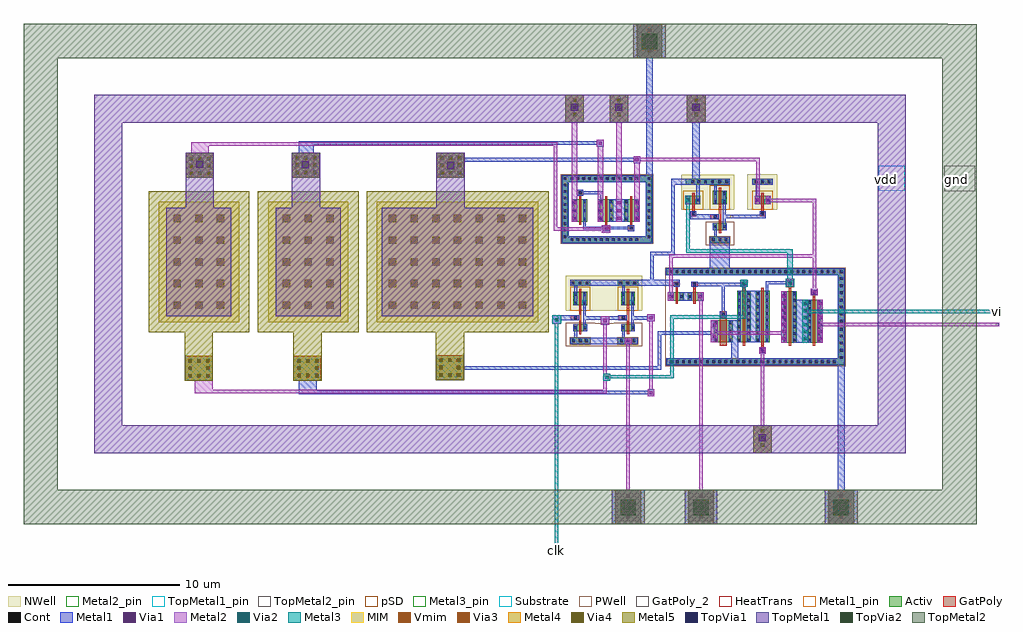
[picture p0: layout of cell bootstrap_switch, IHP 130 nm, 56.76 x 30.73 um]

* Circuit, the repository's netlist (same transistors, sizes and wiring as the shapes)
* Extracted by KLayout with SG13G2 LVS runset on : 25/02/2026 15:47

.SUBCKT bootstrap_switch gnd vdd vi vo clk
M$1 gnd clk \$3 gnd sg13_lv_nmos L=0.13u W=0.4u AS=0.136p AD=0.136p PS=1.48u
+ PD=1.48u
M$2 gnd \$3 \$4 gnd sg13_lv_nmos L=0.13u W=0.4u AS=0.136p AD=0.136p PS=1.48u
+ PD=1.48u
M$3 \$5 \$3 gnd gnd sg13_lv_nmos L=0.4u W=1.3u AS=0.442p AD=0.442p PS=3.28u
+ PD=3.28u
M$4 vi \$21 vo gnd sg13_lv_nmos L=0.13u W=2.5u AS=0.85p AD=0.85p PS=5.68u
+ PD=5.68u
M$5 \$21 vdd \$22 gnd sg13_lv_nmos L=0.13u W=0.5u AS=0.17p AD=0.17p PS=1.68u
+ PD=1.68u
M$6 \$22 \$3 gnd gnd sg13_lv_nmos L=0.13u W=0.5u AS=0.17p AD=0.17p PS=1.68u
+ PD=1.68u
M$7 \$5 \$7 vi gnd sg13_lv_nmos L=0.13u W=3u AS=1.02p AD=1.02p PS=6.68u PD=6.68u
M$8 gnd \$3 \$6 gnd sg13_lv_nmos L=0.13u W=3u AS=1.02p AD=1.02p PS=6.68u
+ PD=6.68u
M$9 \$6 vdd \$7 gnd sg13_lv_nmos L=0.13u W=3u AS=1.02p AD=1.02p PS=6.68u
+ PD=6.68u
M$10 gnd \$29 \$27 gnd sg13_lv_nmos L=0.13u W=0.4u AS=0.136p AD=0.136p PS=1.48u
+ PD=1.48u
M$11 vdd \$14 \$13 gnd sg13_lv_nmos L=0.13u W=1.3u AS=0.442p AD=0.442p PS=3.28u
+ PD=3.28u
M$12 \$14 \$13 vdd gnd sg13_lv_nmos L=0.13u W=1.3u AS=0.442p AD=0.442p PS=3.28u
+ PD=3.28u
M$13 vdd \$13 \$15 gnd sg13_lv_nmos L=0.13u W=1.3u AS=0.442p AD=0.442p PS=3.28u
+ PD=3.28u
M$14 vdd clk \$3 vdd sg13_lv_pmos L=0.13u W=0.8u AS=0.272p AD=0.272p PS=2.28u
+ PD=2.28u
M$15 vdd \$3 \$4 vdd sg13_lv_pmos L=0.13u W=0.8u AS=0.272p AD=0.272p PS=2.28u
+ PD=2.28u
M$16 \$7 \$29 vdd vdd sg13_lv_pmos L=0.13u W=0.5u AS=0.17p AD=0.17p PS=1.68u
+ PD=1.68u
M$17 \$15 \$27 \$21 \$15 sg13_lv_pmos L=0.13u W=0.5u AS=0.17p AD=0.17p PS=1.68u
+ PD=1.68u
M$18 vdd \$29 \$27 vdd sg13_lv_pmos L=0.13u W=0.8u AS=0.272p AD=0.272p PS=2.28u
+ PD=2.28u
C$19 \$13 \$3 cap_cmim w=4.665u l=6.99u A=32.60835p P=23.31u m=1
C$20 \$14 \$4 cap_cmim w=4.665u l=6.99u A=32.60835p P=23.31u m=1
C$21 \$15 \$5 cap_cmim w=9.39u l=6.99u A=65.6361p P=32.76u m=1
.ENDS bootstrap_switch

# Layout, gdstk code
import gdstk
lib = gdstk.Library(unit=1e-6, precision=1e-09)
def R(c, l, rs):  # rectangles x0, y0, x1, y1
    for r in rs: c.add(gdstk.rectangle(r[:2], r[2:], *l))
def A(c, l, x, y, w, h, nx, ny, dx, dy):  # array of equal rectangles
    R(c, l, [(x+i*dx, y+j*dy, x+i*dx+w, y+j*dy+h) for i in range(nx) for j in range(ny)])
Activ = (1, 0)
GatPoly = (5, 0)
GatPoly_2 = (5, 2)
Cont = (6, 0)
Metal1 = (8, 0)
Metal1_pin = (8, 2)
Metal2 = (10, 0)
Metal2_pin = (10, 2)
pSD = (14, 0)
Via1 = (19, 0)
Via2 = (29, 0)
Metal3 = (30, 0)
Metal3_pin = (30, 2)
NWell = (31, 0)
MIM = (36, 0)
Substrate = (40, 0)
PWell = (46, 0)
Via3 = (49, 0)
Metal4 = (50, 0)
HeatTrans = (51, 0)
Via4 = (66, 0)
Metal5 = (67, 0)
TopVia1 = (125, 0)
TopMetal1 = (126, 0)
TopMetal1_pin = (126, 2)
Vmim = (129, 0)
TopVia2 = (133, 0)
TopMetal2 = (134, 0)
TopMetal2_pin = (134, 2)

nmos_2 = lib.new_cell('nmos$2')
R(nmos_2, Activ, [(0,0,0.3,0.3), (0,0,0.81,1.3), (0.51,0,0.81,0.3)])
R(nmos_2, GatPoly, [(0.34,-0.18,0.47,1.48)])
R(nmos_2, GatPoly_2, [(0.34,-0.18,0.47,1.48)])
A(nmos_2, Cont, 0.07, 0.07, 0.16, 0.16, 1, 3, 0, 0.5)
A(nmos_2, Cont, 0.58, 0.07, 0.16, 0.16, 1, 3, 0, 0.5)
R(nmos_2, Metal1, [(0.07,0,0.23,1.3), (0.58,0,0.74,1.3)])
R(nmos_2, Metal1_pin, [(0.07,0,0.23,1.3), (0.58,0,0.74,1.3)])
R(nmos_2, HeatTrans, [(0.34,-0.18,0.47,1.48)])
nmos_2.add(gdstk.Label('nmos', (0.405,0.65), layer=63, texttype=0))
nmos_2.add(gdstk.Label('nmos', (0.405,0.65), layer=51, texttype=0))

cmim_1 = lib.new_cell('cmim$1')
R(cmim_1, MIM, [(0,0,4.665,6.99)])
R(cmim_1, Metal5, [(-0.6,-0.6,5.265,7.59)])
R(cmim_1, TopMetal1, [(0.44,0.345,4.22,6.645)])
A(cmim_1, Vmim, 0.86, 0.765, 0.42, 0.42, 3, 5, 1.26, 1.26)

cmim = lib.new_cell('cmim')
R(cmim, MIM, [(0,0,9.39,6.99)])
R(cmim, Metal5, [(-0.6,-0.6,9.99,7.59)])
R(cmim, TopMetal1, [(0.285,0.345,9.105,6.645)])
A(cmim, Vmim, 0.705, 0.765, 0.42, 0.42, 7, 5, 1.26, 1.26)

pmos_3 = lib.new_cell('pmos$3')
R(pmos_3, Activ, [(0,0,0.3,0.3), (0,0,0.81,0.5), (0.51,0,0.81,0.3)])
R(pmos_3, GatPoly, [(0.34,-0.18,0.47,0.68), (0.34,-0.18,0.47,0.68)])
R(pmos_3, Cont, [(0.07,0.17,0.23,0.33), (0.58,0.17,0.74,0.33)])
R(pmos_3, Metal1, [(0.07,0,0.23,0.5), (0.07,0,0.23,0.5), (0.58,0,0.74,0.5), (0.58,0,0.74,0.5)])
R(pmos_3, pSD, [(-0.18,-0.3,0.99,0.8)])
R(pmos_3, NWell, [(-0.31,-0.31,1.12,0.81)])
R(pmos_3, Substrate, [(0.51,0,0.81,0.3)])
R(pmos_3, HeatTrans, [(0.34,-0.18,0.47,0.68)])
pmos_3.add(gdstk.Label('pmos', (0.405,0.25), layer=63, texttype=0))
pmos_3.add(gdstk.Label('pmos', (0.405,0.25), layer=51, texttype=0))

pmos_2 = lib.new_cell('pmos$2')
R(pmos_2, Activ, [(0,0,0.3,0.3), (0,0,0.81,0.5), (0.51,0,0.81,0.3)])
R(pmos_2, GatPoly, [(0.34,-0.18,0.47,0.68), (0.34,-0.18,0.47,0.68)])
R(pmos_2, Cont, [(0.07,0.17,0.23,0.33), (0.58,0.17,0.74,0.33)])
R(pmos_2, Metal1, [(0.07,0,0.23,0.5), (0.07,0,0.23,0.5), (0.58,0,0.74,0.5), (0.58,0,0.74,0.5)])
R(pmos_2, pSD, [(-0.18,-0.3,0.99,0.8)])
R(pmos_2, NWell, [(-0.31,-0.31,1.12,0.81)])
R(pmos_2, Substrate, [(0.51,0,0.81,0.3)])
R(pmos_2, HeatTrans, [(0.34,-0.18,0.47,0.68)])
pmos_2.add(gdstk.Label('pmos', (0.405,0.25), layer=63, texttype=0))
pmos_2.add(gdstk.Label('pmos', (0.405,0.25), layer=51, texttype=0))

inverter2 = lib.new_cell('inverter2')
R(inverter2, Activ, [(33.54,-15.715,34.705,-15.35), (36.32,-15.715,37.485,-15.35), (33.72,-14.965,34.02,-14.665), (33.72,-14.965,34.53,-14.565), (34.23,-14.965,34.53,-14.665), (36.5,-14.965,36.8,-14.665), (36.5,-14.965,37.31,-14.565), (37.01,-14.965,37.31,-14.665), (33.72,-13.475,34.53,-12.675), (33.72,-13.475,34.02,-13.175), (34.23,-13.475,34.53,-13.175), (36.5,-13.475,37.31,-12.675), (36.5,-13.475,36.8,-13.175), (37.01,-13.475,37.31,-13.175), (33.54,-12.34,34.71,-11.985), (36.32,-12.34,37.49,-11.985)])
R(inverter2, GatPoly, [(34.06,-15.145,34.19,-14.385), (34.06,-15.145,34.19,-12.495), (36.84,-15.145,36.97,-14.385), (36.84,-15.145,36.97,-12.495), (33.57,-14.34,34.145,-14.035), (36.35,-14.34,36.925,-14.035), (34.06,-13.655,34.19,-12.495), (34.06,-13.655,34.19,-12.495), (36.84,-13.655,36.97,-12.495), (36.84,-13.655,36.97,-12.495)])
R(inverter2, GatPoly_2, [(34.06,-15.145,34.19,-14.385), (36.84,-15.145,36.97,-14.385)])
R(inverter2, Cont, [(33.66,-15.61,33.82,-15.45), (34.045,-15.61,34.205,-15.45), (34.4,-15.61,34.56,-15.45), (36.44,-15.61,36.6,-15.45), (36.825,-15.61,36.985,-15.45), (37.18,-15.61,37.34,-15.45), (33.79,-14.845,33.95,-14.685), (34.3,-14.845,34.46,-14.685), (36.57,-14.845,36.73,-14.685), (37.08,-14.845,37.24,-14.685), (33.77,-14.27,33.93,-14.11), (36.55,-14.27,36.71,-14.11), (33.79,-13.405,33.95,-13.245), (34.3,-13.405,34.46,-13.245), (36.57,-13.405,36.73,-13.245), (37.08,-13.405,37.24,-13.245), (33.79,-12.905,33.95,-12.745), (34.3,-12.905,34.46,-12.745), (36.57,-12.905,36.73,-12.745), (37.08,-12.905,37.24,-12.745), (33.62,-12.24,33.78,-12.08), (34.035,-12.24,34.195,-12.08), (34.44,-12.24,34.6,-12.08), (36.4,-12.24,36.56,-12.08), (36.815,-12.24,36.975,-12.08), (37.22,-12.24,37.38,-12.08)])
R(inverter2, Metal1, [(33.54,-15.715,34.705,-15.35), (33.555,-15.715,37.44,-15.35), (36.32,-15.715,37.485,-15.35), (33.79,-15.555,33.95,-14.79), (36.57,-15.555,36.73,-14.79), (33.72,-14.965,33.95,-14.565), (33.79,-14.965,33.95,-14.565), (34.3,-14.965,34.46,-12.675), (34.3,-14.965,34.53,-14.565), (34.3,-14.965,34.46,-14.565), (36.5,-14.965,36.73,-14.565), (36.57,-14.965,36.73,-14.565), (37.08,-14.965,37.24,-12.675), (37.08,-14.965,37.31,-14.565), (37.08,-14.965,37.24,-14.565), (33.57,-14.34,34.06,-14.035), (36.35,-14.34,36.84,-14.035), (34.3,-14.29,34.91,-14.09), (34.68,-14.29,36.78,-14.09), (37.08,-14.29,37.69,-14.09), (33.79,-13.475,33.95,-12.675), (33.79,-13.475,33.95,-12.675), (34.3,-13.475,34.46,-12.675), (34.3,-13.475,34.46,-12.675), (36.57,-13.475,36.73,-12.675), (36.57,-13.475,36.73,-12.675), (37.08,-13.475,37.24,-12.675), (37.08,-13.475,37.24,-12.675), (33.79,-12.765,33.95,-11.985), (36.57,-12.765,36.73,-11.985), (33.54,-12.34,34.71,-11.985), (33.54,-12.34,37.49,-11.985), (36.32,-12.34,37.49,-11.985)])
R(inverter2, Metal1_pin, [(33.79,-14.965,33.95,-14.565), (34.3,-14.965,34.46,-14.565), (36.57,-14.965,36.73,-14.565), (37.08,-14.965,37.24,-14.565), (33.555,-12.31,33.78,-12.02), (36.335,-12.31,36.56,-12.02)])
R(inverter2, pSD, [(33.51,-15.75,34.735,-15.32), (36.29,-15.75,37.515,-15.32), (33.54,-13.775,34.71,-12.375), (36.32,-13.775,37.49,-12.375)])
R(inverter2, NWell, [(33.29,-13.785,34.965,-11.74), (33.29,-13.785,37.745,-11.74), (33.41,-13.785,34.84,-12.365), (36.07,-13.785,37.745,-11.74), (36.19,-13.785,37.62,-12.365)])
R(inverter2, Substrate, [(34.23,-13.475,34.53,-13.175), (37.01,-13.475,37.31,-13.175)])
R(inverter2, PWell, [(33.295,-15.845,37.745,-14.495), (33.29,-15.84,34.96,-14.49), (36.07,-15.84,37.74,-14.49)])
R(inverter2, HeatTrans, [(34.06,-15.145,34.19,-14.385), (36.84,-15.145,36.97,-14.385), (34.06,-13.655,34.19,-12.495), (36.84,-13.655,36.97,-12.495)])
inverter2.add(gdstk.Label('pmos', (34.125,-13.075), layer=63, texttype=0))
inverter2.add(gdstk.Label('pmos', (36.905,-13.075), layer=63, texttype=0))
inverter2.add(gdstk.Label('nmos', (34.125,-14.765), layer=63, texttype=0))
inverter2.add(gdstk.Label('nmos', (36.905,-14.765), layer=63, texttype=0))
inverter2.add(gdstk.Label('nmos', (34.125,-14.765), layer=51, texttype=0))
inverter2.add(gdstk.Label('nmos', (36.905,-14.765), layer=51, texttype=0))
inverter2.add(gdstk.Label('pmos', (34.125,-13.075), layer=51, texttype=0))
inverter2.add(gdstk.Label('pmos', (36.905,-13.075), layer=51, texttype=0))

pmos = lib.new_cell('pmos')
R(pmos, Activ, [(9.885,-10.645,10.185,-10.345), (9.885,-10.645,10.695,-9.845), (10.395,-10.645,10.695,-10.345)])
R(pmos, GatPoly, [(10.225,-10.825,10.355,-9.665), (10.225,-10.825,10.355,-9.665)])
R(pmos, Cont, [(9.955,-10.575,10.115,-10.415), (10.465,-10.575,10.625,-10.415), (9.955,-10.075,10.115,-9.915), (10.465,-10.075,10.625,-9.915)])
R(pmos, Metal1, [(9.955,-10.645,10.115,-9.845), (9.955,-10.645,10.115,-9.845), (10.465,-10.645,10.625,-9.845), (10.465,-10.645,10.625,-9.845)])
R(pmos, pSD, [(9.705,-10.945,10.875,-9.545)])
R(pmos, NWell, [(9.575,-10.955,11.005,-9.535)])
R(pmos, Substrate, [(10.395,-10.645,10.695,-10.345)])
R(pmos, HeatTrans, [(10.225,-10.825,10.355,-9.665)])
pmos.add(gdstk.Label('pmos', (10.29,-10.245), layer=63, texttype=0))
pmos.add(gdstk.Label('pmos', (10.29,-10.245), layer=51, texttype=0))

nmos_1 = lib.new_cell('nmos$1')
R(nmos_1, Activ, [(9.885,-10.645,10.185,-10.345), (9.885,-10.645,10.695,-10.245), (10.395,-10.645,10.695,-10.345)])
R(nmos_1, GatPoly, [(10.225,-10.825,10.355,-10.065)])
R(nmos_1, GatPoly_2, [(10.225,-10.825,10.355,-10.065)])
R(nmos_1, Cont, [(9.955,-10.525,10.115,-10.365), (10.465,-10.525,10.625,-10.365)])
R(nmos_1, Metal1, [(9.955,-10.645,10.115,-10.245), (10.465,-10.645,10.625,-10.245)])
R(nmos_1, Metal1_pin, [(9.955,-10.645,10.115,-10.245), (10.465,-10.645,10.625,-10.245)])
R(nmos_1, HeatTrans, [(10.225,-10.825,10.355,-10.065)])
nmos_1.add(gdstk.Label('nmos', (10.29,-10.445), layer=63, texttype=0))
nmos_1.add(gdstk.Label('nmos', (10.29,-10.445), layer=51, texttype=0))

inverter = lib.new_cell('inverter')
R(inverter, Activ, [(9.265,-12.57,10.43,-12.205), (9.265,-9.195,10.435,-8.84)])
R(inverter, GatPoly, [(9.785,-12,9.915,-9.35), (9.295,-11.195,9.87,-10.89)])
R(inverter, Cont, [(9.385,-12.465,9.545,-12.305), (9.77,-12.465,9.93,-12.305), (10.125,-12.465,10.285,-12.305), (9.495,-11.125,9.655,-10.965), (9.345,-9.095,9.505,-8.935), (9.76,-9.095,9.92,-8.935), (10.165,-9.095,10.325,-8.935)])
R(inverter, Metal1, [(9.265,-12.57,10.43,-12.205), (9.515,-12.41,9.675,-11.645), (9.445,-11.82,9.675,-11.42), (10.025,-11.82,10.255,-11.42), (10.025,-11.82,10.185,-9.53), (9.295,-11.195,9.785,-10.89), (10.025,-11.145,10.635,-10.945), (9.515,-9.62,9.675,-8.84), (9.265,-9.195,10.435,-8.84)])
R(inverter, Metal1_pin, [(10.45,-11.14,10.625,-10.955), (9.495,-11.125,9.655,-10.965)])
R(inverter, pSD, [(9.235,-12.605,10.46,-12.175)])
R(inverter, NWell, [(9.015,-10.64,10.69,-8.595)])
R(inverter, PWell, [(9.015,-12.695,10.685,-11.345)])
inverter.add(gdstk.Reference(pmos, (-0.44,0.315)))
inverter.add(gdstk.Reference(nmos_1, (-0.44,-1.175)))

nmos_4 = lib.new_cell('nmos$4')
R(nmos_4, Activ, [(0,0,0.3,0.3), (0,0,0.81,3), (0.51,0,0.81,0.3)])
R(nmos_4, GatPoly, [(0.34,-0.18,0.47,3.18)])
R(nmos_4, GatPoly_2, [(0.34,-0.18,0.47,3.18)])
A(nmos_4, Cont, 0.07, 0.07, 0.16, 0.16, 1, 7, 0, 0.385)
A(nmos_4, Cont, 0.58, 0.07, 0.16, 0.16, 1, 7, 0, 0.385)
R(nmos_4, Cont, [(0.07,2.77,0.23,2.93), (0.58,2.77,0.74,2.93)])
R(nmos_4, Metal1, [(0.07,0,0.23,3), (0.58,0,0.74,3)])
R(nmos_4, Metal1_pin, [(0.07,0,0.23,3), (0.58,0,0.74,3)])
R(nmos_4, HeatTrans, [(0.34,-0.18,0.47,3.18)])
nmos_4.add(gdstk.Label('nmos', (0.405,1.5), layer=63, texttype=0))
nmos_4.add(gdstk.Label('nmos', (0.405,1.5), layer=51, texttype=0))

nmos_3 = lib.new_cell('nmos$3')
R(nmos_3, Activ, [(0,0,0.3,0.3), (0,0,1.08,1.3), (0.78,0,1.08,0.3)])
R(nmos_3, GatPoly, [(0.34,-0.18,0.74,1.48)])
R(nmos_3, GatPoly_2, [(0.34,-0.18,0.74,1.48)])
A(nmos_3, Cont, 0.07, 0.07, 0.16, 0.16, 1, 3, 0, 0.5)
A(nmos_3, Cont, 0.85, 0.07, 0.16, 0.16, 1, 3, 0, 0.5)
R(nmos_3, Metal1, [(0.07,0,0.23,1.3), (0.85,0,1.01,1.3)])
R(nmos_3, Metal1_pin, [(0.07,0,0.23,1.3), (0.85,0,1.01,1.3)])
R(nmos_3, HeatTrans, [(0.34,-0.18,0.74,1.48)])
nmos_3.add(gdstk.Label('nmos', (0.54,0.65), layer=63, texttype=0))
nmos_3.add(gdstk.Label('nmos', (0.54,0.65), layer=51, texttype=0))

nmos_5 = lib.new_cell('nmos$5')
R(nmos_5, Activ, [(0,0,0.3,0.3), (0,0,0.81,0.5), (0.51,0,0.81,0.3)])
R(nmos_5, GatPoly, [(0.34,-0.18,0.47,0.68)])
R(nmos_5, GatPoly_2, [(0.34,-0.18,0.47,0.68)])
R(nmos_5, Cont, [(0.07,0.17,0.23,0.33), (0.58,0.17,0.74,0.33)])
R(nmos_5, Metal1, [(0.07,0,0.23,0.5), (0.58,0,0.74,0.5)])
R(nmos_5, Metal1_pin, [(0.07,0,0.23,0.5), (0.58,0,0.74,0.5)])
R(nmos_5, HeatTrans, [(0.34,-0.18,0.47,0.68)])
nmos_5.add(gdstk.Label('nmos', (0.405,0.25), layer=63, texttype=0))
nmos_5.add(gdstk.Label('nmos', (0.405,0.25), layer=51, texttype=0))

nmos_7 = lib.new_cell('nmos$7')
R(nmos_7, Activ, [(0,0,0.3,0.3), (0,0,0.81,2.5), (0.51,0,0.81,0.3)])
R(nmos_7, GatPoly, [(0.34,-0.18,0.47,2.68)])
R(nmos_7, GatPoly_2, [(0.34,-0.18,0.47,2.68)])
A(nmos_7, Cont, 0.07, 0.07, 0.16, 0.16, 1, 3, 0, 0.365)
A(nmos_7, Cont, 0.58, 0.07, 0.16, 0.16, 1, 3, 0, 0.365)
A(nmos_7, Cont, 0.07, 1.17, 0.16, 0.16, 1, 3, 0, 0.365)
A(nmos_7, Cont, 0.58, 1.17, 0.16, 0.16, 1, 3, 0, 0.365)
R(nmos_7, Cont, [(0.07,2.27,0.23,2.43), (0.58,2.27,0.74,2.43)])
R(nmos_7, Metal1, [(0.07,0,0.23,2.5), (0.58,0,0.74,2.5)])
R(nmos_7, Metal1_pin, [(0.07,0,0.23,2.5), (0.58,0,0.74,2.5)])
R(nmos_7, HeatTrans, [(0.34,-0.18,0.47,2.68)])
nmos_7.add(gdstk.Label('nmos', (0.405,1.25), layer=63, texttype=0))
nmos_7.add(gdstk.Label('nmos', (0.405,1.25), layer=51, texttype=0))

bootstrap_switch = lib.new_cell('bootstrap_switch')
R(bootstrap_switch, Activ, [(29.155,-10.075,39.085,-9.735), (39.075,-10.075,39.15,-9.735), (39.13,-10.075,39.47,-4.5), (29.14,-4.84,39.07,-4.5), (39.05,-4.84,39.15,-4.5), (23.07,-2.97,23.41,0.92), (23.07,-2.97,23.68,-2.63), (23.46,-2.97,27.9,-2.63), (27.805,-2.97,28.135,-2.63), (27.955,-2.97,28.295,0.92), (30.255,0.385,32.83,0.74), (34.14,0.385,35.325,0.74), (23.07,0.58,23.52,0.92), (23.46,0.58,27.9,0.92), (27.78,0.58,28.23,0.92)])
R(bootstrap_switch, GatPoly, [(34.54,-9.4,34.9,-9.1), (34.66,-9.205,34.79,-8.95), (32.24,-7.31,32.64,-6.96), (37.655,-6.115,37.785,-5.86), (37.545,-6,37.905,-5.7), (29.675,-5.685,29.805,-5.43), (30.705,-5.685,30.835,-5.43), (36.255,-5.62,36.385,-5.355), (33.58,-5.615,33.71,-5.36), (36.07,-5.58,36.57,-5.16), (30.585,-5.54,30.945,-5.24), (33.46,-5.54,33.82,-5.24), (29.55,-5.535,29.91,-5.235), (25.44,-2.3,25.81,-1.95), (26.895,-2.3,27.265,-1.95), (25.565,-2.155,25.695,-1.925), (27.02,-2.155,27.15,-1.925), (30.53,-1.44,30.88,-1.14), (34.55,-1.44,34.9,-1.14), (30.64,-1.34,30.77,-0.915), (34.66,-1.33,34.79,-0.905), (24.055,-0.28,24.185,-0.05), (23.93,-0.25,24.3,0.1)])
A(bootstrap_switch, Cont, 29.335, -9.985, 0.16, 0.16, 4, 1, 0.355, 0)
A(bootstrap_switch, Cont, 31.09, -9.985, 0.16, 0.16, 4, 1, 0.355, 0)
A(bootstrap_switch, Cont, 32.845, -9.985, 0.16, 0.16, 4, 1, 0.355, 0)
A(bootstrap_switch, Cont, 34.6, -9.985, 0.16, 0.16, 4, 1, 0.355, 0)
A(bootstrap_switch, Cont, 37.06, -9.985, 0.16, 0.16, 3, 1, 0.355, 0)
A(bootstrap_switch, Cont, 39.215, -9.73, 0.16, 0.16, 1, 3, 0, 0.42)
A(bootstrap_switch, Cont, 29.32, -4.75, 0.16, 0.16, 4, 1, 0.355, 0)
A(bootstrap_switch, Cont, 31.075, -4.75, 0.16, 0.16, 4, 1, 0.355, 0)
A(bootstrap_switch, Cont, 32.83, -4.75, 0.16, 0.16, 4, 1, 0.355, 0)
A(bootstrap_switch, Cont, 34.585, -4.75, 0.16, 0.16, 4, 1, 0.355, 0)
A(bootstrap_switch, Cont, 37.045, -4.75, 0.16, 0.16, 3, 1, 0.355, 0)
A(bootstrap_switch, Cont, 23.905, -2.875, 0.16, 0.16, 3, 2, 0.34, 3.55)
A(bootstrap_switch, Cont, 25.27, -2.875, 0.16, 0.16, 3, 2, 0.345, 3.55)
A(bootstrap_switch, Cont, 25.96, -2.875, 0.16, 0.16, 3, 2, 0.34, 3.55)
A(bootstrap_switch, Cont, 23.155, -2.325, 0.16, 0.16, 1, 3, 0, 0.375)
A(bootstrap_switch, Cont, 28.04, -2.325, 0.16, 0.16, 1, 3, 0, 0.375)
A(bootstrap_switch, Cont, 23.155, -1.205, 0.16, 0.16, 1, 3, 0, 0.375)
A(bootstrap_switch, Cont, 28.04, -1.205, 0.16, 0.16, 1, 3, 0, 0.375)
A(bootstrap_switch, Cont, 23.155, -0.075, 0.16, 0.16, 1, 3, 0, 0.375)
A(bootstrap_switch, Cont, 28.04, -0.075, 0.16, 0.16, 1, 3, 0, 0.375)
R(bootstrap_switch, Cont, [(30.745,-9.985,30.905,-9.825), (30.745,-9.985,30.905,-9.825), (32.5,-9.985,32.66,-9.825), (32.5,-9.985,32.66,-9.825), (34.255,-9.985,34.415,-9.825), (34.255,-9.985,34.415,-9.825), (36.01,-9.985,36.17,-9.825), (36.01,-9.985,36.17,-9.825), (36.36,-9.985,36.52,-9.825), (36.715,-9.985,36.875,-9.825), (38.115,-9.985,38.275,-9.825), (38.115,-9.985,38.275,-9.825), (38.465,-9.985,38.625,-9.825), (38.82,-9.985,38.98,-9.825), (34.64,-9.33,34.8,-9.17), (39.215,-8.48,39.375,-8.32), (39.215,-8.085,39.375,-7.925), (39.215,-7.625,39.375,-7.465), (39.215,-7.205,39.375,-7.045), (32.365,-7.2,32.525,-7.04), (39.215,-6.795,39.375,-6.635), (39.215,-6.4,39.375,-6.24), (39.215,-5.975,39.375,-5.815), (37.645,-5.93,37.805,-5.77), (39.215,-5.555,39.375,-5.395), (30.685,-5.47,30.845,-5.31), (33.565,-5.47,33.725,-5.31), (29.66,-5.465,29.82,-5.305), (36.24,-5.43,36.4,-5.27), (39.215,-5.145,39.375,-4.985), (30.73,-4.75,30.89,-4.59), (30.73,-4.75,30.89,-4.59), (32.485,-4.75,32.645,-4.59), (32.485,-4.75,32.645,-4.59), (34.24,-4.75,34.4,-4.59), (34.24,-4.75,34.4,-4.59), (35.995,-4.75,36.155,-4.59), (35.995,-4.75,36.155,-4.59), (36.345,-4.75,36.505,-4.59), (36.7,-4.75,36.86,-4.59), (38.1,-4.75,38.26,-4.59), (38.1,-4.75,38.26,-4.59), (38.45,-4.75,38.61,-4.59), (38.805,-4.75,38.965,-4.59), (39.215,-4.75,39.375,-4.59), (23.56,-2.875,23.72,-2.715), (23.905,-2.875,24.065,-2.715), (24.93,-2.875,25.09,-2.715), (24.93,-2.875,25.09,-2.715), (26.985,-2.875,27.145,-2.715), (26.985,-2.875,27.145,-2.715), (27.325,-2.875,27.485,-2.715), (23.155,-2.705,23.315,-2.545), (28.04,-2.705,28.2,-2.545), (25.55,-2.205,25.71,-2.045), (27.005,-2.205,27.165,-2.045), (30.625,-1.37,30.785,-1.21), (34.645,-1.37,34.805,-1.21), (24.04,-0.15,24.2,0.01), (30.585,0.485,30.745,0.645), (30.94,0.485,31.1,0.645), (31.33,0.485,31.49,0.645), (34.28,0.485,34.44,0.645), (34.645,0.485,34.805,0.645), (35.025,0.485,35.185,0.645), (23.56,0.675,23.72,0.835), (23.905,0.675,24.065,0.835), (24.93,0.675,25.09,0.835), (24.93,0.675,25.09,0.835), (26.985,0.675,27.145,0.835), (26.985,0.675,27.145,0.835), (27.325,0.675,27.485,0.835)])
R(bootstrap_switch, Metal1, [(38.545,-19.355,40.045,-17.355), (39.1,-19.35,39.5,-9.705), (28.035,-11.895,28.435,-11.5), (7.745,-11.8,28.435,-11.6), (7.745,-11.8,8.8,-10.1), (1.12,-11.01,2.755,-9.56), (7.44,-11.01,9.075,-9.56), (15.725,-10.985,17.36,-9.535), (15.725,-10.375,28.725,-10.175), (28.62,-10.375,28.82,-8.125), (29.12,-10.105,39.12,-9.705), (32.91,-10.105,33.31,-8.38), (39.1,-10.105,39.5,-4.47), (34.54,-9.4,34.9,-9.1), (35.8,-8.79,36.145,-5.79), (36.495,-8.79,37.545,-6.29), (37.03,-8.79,37.37,-6.29), (37.895,-8.79,38.235,-6.29), (31.7,-8.78,32.13,-7.48), (32.75,-8.78,33.47,-7.48), (33.82,-8.78,34.55,-5.78), (28.62,-8.325,32.13,-8.125), (25.31,-7.755,25.815,-7.245), (22.5,-7.7,23.005,-7.19), (28.02,-7.55,28.45,-7.13), (22.5,-7.495,24.055,-7.19), (27.505,-7.445,28.405,-7.245), (32.24,-7.3,32.64,-6.96), (29.2,-6.35,29.565,-5.85), (29.335,-6.35,29.565,-5.85), (29.915,-6.35,30.595,-5.85), (30.945,-6.35,31.175,-5.85), (30.945,-6.35,31.31,-5.85), (34.9,-6.01,35.06,-5.225), (37.545,-6,37.905,-5.7), (36.07,-5.545,36.57,-5.16), (36.07,-5.545,36.57,-5.085), (30.585,-5.54,30.945,-5.24), (33.425,-5.54,33.855,-5.12), (33.46,-5.54,33.82,-5.24), (29.55,-5.535,29.91,-5.235), (30.685,-5.505,32.54,-5.305), (27.145,-5.495,29.91,-5.14), (28.185,-5.495,28.385,-3.5), (34.9,-5.4,36.42,-5.225), (29.105,-4.87,39.105,-4.47), (31.66,-4.87,32.825,-2.625), (28.185,-3.7,29.6,-3.5), (29.41,-3.7,29.61,0.74), (23.04,-3,23.44,0.95), (23.43,-3,27.93,-2.6), (27.925,-3,28.325,0.95), (25.44,-2.3,25.81,-1.95), (26.895,-2.3,27.265,-1.95), (25.595,-2.21,27.04,-2.05), (24.295,-2.205,25.74,-2.045), (24.295,-2.16,24.455,-1.64), (23.625,-1.75,23.885,-0.45), (25.13,-1.75,25.39,-0.45), (25.805,-1.75,26.91,-0.45), (27.3,-1.75,27.56,-0.45), (30.53,-1.615,32.05,-1.31), (32.84,-1.565,34.9,-1.365), (30.53,-1.44,30.88,-1.14), (34.55,-1.44,34.9,-1.14), (30.24,-0.75,30.53,-0.25), (30.335,-0.75,30.53,-0.25), (30.88,-0.75,31.085,-0.25), (34.32,-0.75,34.55,-0.25), (34.9,-0.75,35.19,-0.25), (25.295,-0.52,25.455,0), (30.88,-0.41,31.085,0.74), (34.32,-0.395,34.55,0.74), (23.93,-0.25,24.3,0.1), (24.01,-0.16,25.455,0), (29.41,0.385,30.435,0.74), (30.255,0.385,32.83,0.74), (30.64,0.385,31.085,5.64), (34.14,0.385,35.325,0.74), (23.43,0.55,27.93,0.95), (27.97,0.565,28.325,9.745), (15.755,0.795,17.39,2.245), (1.175,0.8,2.81,2.25), (7.35,0.805,8.985,2.255), (27.22,1.645,27.62,2.04), (16.96,1.725,27.62,1.95), (7.755,2.15,8.625,2.915), (25.09,2.61,25.49,3.005), (7.755,2.715,25.385,2.915), (30.32,4,31.41,5.64), (27.4,7.75,28.9,9.75)])
R(bootstrap_switch, Metal2, [(26.16,-19.355,27.66,-17.355), (38.545,-19.355,40.045,-17.355), (26.805,-19.35,27.005,-8.59), (30.395,-19.35,31.895,-17.35), (31.035,-19.35,31.235,-6.005), (34.17,-15.22,35.26,-13.58), (34.62,-15.22,34.82,-9.155), (28.035,-11.895,28.435,-11.5), (1.7,-11.725,25.67,-11.525), (1.7,-11.725,2.755,-10.495), (25.47,-11.725,25.67,-7.56), (28.135,-11.725,28.335,-7.13), (1.12,-11.01,2.755,-9.56), (7.44,-11.01,9.075,-9.56), (25.47,-11.005,25.87,-10.61), (15.725,-10.985,17.36,-9.535), (34.52,-9.43,34.92,-9.07), (26.7,-8.87,27.105,-8.505), (35.8,-8.79,36.145,-5.79), (37.03,-8.79,37.37,-6.29), (37.895,-8.79,38.235,-6.29), (31.7,-8.78,32.13,-7.48), (31.7,-8.325,36.145,-8.125), (37.965,-7.845,48.48,-7.645), (25.31,-7.755,25.815,-7.245), (22.5,-7.7,23.005,-7.19), (28.02,-7.55,28.45,-7.13), (29.2,-6.35,29.565,-5.85), (30.945,-6.35,31.31,-5.85), (29.29,-6.205,29.49,-3.64), (37.525,-6.03,37.925,-5.67), (37.64,-5.94,37.84,-0.425), (36.07,-5.545,36.57,-5.085), (33.425,-5.54,33.855,-5.12), (29.29,-3.84,37.84,-3.64), (25.38,-2.4,25.88,-1.97), (22.585,-2.285,22.785,2.715), (22.75,-2.285,25.745,-2.085), (23.625,-1.75,23.945,-0.45), (25.13,-1.75,25.45,-0.45), (26.205,-1.75,26.525,-0.45), (27.26,-1.75,27.56,-0.45), (27.26,-1.75,27.585,1.89), (23.63,-0.84,23.95,5.64), (26.205,-0.84,26.525,5.64), (30.24,-0.75,30.53,-0.25), (34.285,-0.75,34.585,-0.25), (34.9,-0.75,35.19,-0.25), (25.13,-0.635,25.455,3.005), (34.945,-0.62,37.84,-0.42), (34.35,-0.585,34.55,1.95), (15.755,0.795,17.39,2.245), (1.175,0.8,2.81,2.25), (7.35,0.805,8.985,2.255), (27.22,1.645,27.62,2.04), (27.33,1.75,34.55,1.95), (1.515,1.77,2.515,2.87), (25.09,2.61,25.49,3.005), (1.515,2.67,22.785,2.87), (23.25,4,24.34,5.64), (25.825,4,26.915,5.64), (30.32,4,31.41,5.64), (27.4,7.75,28.9,9.75)])
R(bootstrap_switch, Metal2_pin, [(48.29,-7.835,48.475,-7.65)])
R(bootstrap_switch, pSD, [(29.12,-10.105,39.12,-9.705), (39.1,-10.105,39.5,-4.47), (29.105,-4.87,39.105,-4.47), (23.04,-3,23.44,0.95), (23.43,-3,27.93,-2.6), (27.925,-3,28.325,0.95), (23.43,0.55,27.93,0.95)])
A(bootstrap_switch, Via1, 37.11, -8.66, 0.19, 0.19, 1, 6, 0, 0.41)
A(bootstrap_switch, Via1, 37.975, -8.66, 0.19, 0.19, 1, 6, 0, 0.41)
A(bootstrap_switch, Via1, 35.875, -8.635, 0.19, 0.19, 1, 7, 0, 0.41)
R(bootstrap_switch, Via1, [(39.195,-18.995,39.385,-18.805), (39.195,-18.395,39.385,-18.205), (39.195,-17.82,39.385,-17.63), (28.135,-11.795,28.325,-11.605), (1.345,-10.805,1.535,-10.615), (1.85,-10.805,2.04,-10.615), (2.365,-10.805,2.555,-10.615), (7.68,-10.8,7.87,-10.61), (8.185,-10.8,8.375,-10.61), (8.7,-10.8,8.89,-10.61), (15.935,-10.765,16.125,-10.575), (16.44,-10.765,16.63,-10.575), (16.955,-10.765,17.145,-10.575), (1.345,-10.37,1.535,-10.18), (2.365,-10.365,2.555,-10.175), (7.68,-10.365,7.87,-10.175), (8.7,-10.36,8.89,-10.17), (15.935,-10.33,16.125,-10.14), (16.955,-10.325,17.145,-10.135), (1.345,-9.955,1.535,-9.765), (1.845,-9.955,2.035,-9.765), (2.365,-9.955,2.555,-9.765), (7.68,-9.95,7.87,-9.76), (8.18,-9.95,8.37,-9.76), (8.7,-9.95,8.89,-9.76), (15.935,-9.915,16.125,-9.725), (16.435,-9.915,16.625,-9.725), (16.955,-9.915,17.145,-9.725), (34.625,-9.345,34.815,-9.155), (26.805,-8.78,26.995,-8.59), (31.82,-8.525,32.01,-8.335), (31.82,-7.86,32.01,-7.67), (25.475,-7.59,25.665,-7.4), (22.655,-7.55,22.845,-7.36), (28.135,-7.435,28.325,-7.245), (29.29,-6.195,29.48,-6.005), (31.04,-6.195,31.23,-6.005), (37.63,-5.945,37.82,-5.755), (36.225,-5.43,36.415,-5.24), (33.545,-5.425,33.735,-5.235), (25.55,-2.235,25.74,-2.045), (23.695,-1.65,23.885,-1.46), (25.2,-1.65,25.39,-1.46), (26.275,-1.65,26.465,-1.46), (27.325,-1.65,27.515,-1.46), (23.695,-1.21,23.885,-1.02), (25.2,-1.21,25.39,-1.02), (26.275,-1.21,26.465,-1.02), (27.32,-1.195,27.51,-1.005), (23.695,-0.745,23.885,-0.555), (25.2,-0.745,25.39,-0.555), (26.275,-0.745,26.465,-0.555), (27.32,-0.735,27.51,-0.545), (34.95,-0.6,35.14,-0.41), (30.295,-0.595,30.485,-0.405), (34.34,-0.595,34.53,-0.405), (1.4,0.96,1.59,1.15), (1.905,0.96,2.095,1.15), (2.42,0.96,2.61,1.15), (15.99,1,16.18,1.19), (16.495,1,16.685,1.19), (17.01,1,17.2,1.19), (7.565,1.005,7.755,1.195), (8.07,1.005,8.26,1.195), (8.585,1.005,8.775,1.195), (1.4,1.395,1.59,1.585), (2.42,1.4,2.61,1.59), (15.99,1.435,16.18,1.625), (7.565,1.44,7.755,1.63), (17.01,1.44,17.2,1.63), (8.585,1.445,8.775,1.635), (27.33,1.76,27.52,1.95), (1.4,1.81,1.59,2), (1.9,1.81,2.09,2), (2.42,1.81,2.61,2), (15.99,1.85,16.18,2.04), (16.49,1.85,16.68,2.04), (17.01,1.85,17.2,2.04), (7.565,1.855,7.755,2.045), (8.065,1.855,8.255,2.045), (8.585,1.855,8.775,2.045), (25.195,2.715,25.385,2.905), (30.775,4.38,30.965,4.57), (30.775,4.8,30.965,4.99), (30.775,5.21,30.965,5.4), (28.05,8.11,28.24,8.3), (28.05,8.71,28.24,8.9), (28.05,9.285,28.24,9.475)])
A(bootstrap_switch, Via2, 37.11, -8.66, 0.19, 0.19, 1, 6, 0, 0.41)
R(bootstrap_switch, Via2, [(26.81,-18.995,27,-18.805), (39.195,-18.995,39.385,-18.805), (31.045,-18.99,31.235,-18.8), (26.81,-18.395,27,-18.205), (39.195,-18.395,39.385,-18.205), (31.045,-18.39,31.235,-18.2), (26.81,-17.82,27,-17.63), (39.195,-17.82,39.385,-17.63), (31.045,-17.815,31.235,-17.625), (34.625,-14.84,34.815,-14.65), (34.625,-14.42,34.815,-14.23), (34.625,-14.01,34.815,-13.82), (25.58,-10.9,25.77,-10.71), (1.345,-10.805,1.535,-10.615), (1.85,-10.805,2.04,-10.615), (2.365,-10.805,2.555,-10.615), (7.68,-10.8,7.87,-10.61), (8.185,-10.8,8.375,-10.61), (8.7,-10.8,8.89,-10.61), (15.935,-10.765,16.125,-10.575), (16.44,-10.765,16.63,-10.575), (16.955,-10.765,17.145,-10.575), (1.345,-10.37,1.535,-10.18), (2.365,-10.365,2.555,-10.175), (7.68,-10.365,7.87,-10.175), (8.7,-10.36,8.89,-10.17), (15.935,-10.33,16.125,-10.14), (16.955,-10.325,17.145,-10.135), (1.345,-9.955,1.535,-9.765), (1.845,-9.955,2.035,-9.765), (2.365,-9.955,2.555,-9.765), (7.68,-9.95,7.87,-9.76), (8.18,-9.95,8.37,-9.76), (8.7,-9.95,8.89,-9.76), (15.935,-9.915,16.125,-9.725), (16.435,-9.915,16.625,-9.725), (16.955,-9.915,17.145,-9.725), (22.655,-7.55,22.845,-7.36), (36.225,-5.43,36.415,-5.24), (33.545,-5.425,33.735,-5.235), (30.295,-0.595,30.485,-0.405), (1.4,0.96,1.59,1.15), (1.905,0.96,2.095,1.15), (2.42,0.96,2.61,1.15), (15.99,1,16.18,1.19), (16.495,1,16.685,1.19), (17.01,1,17.2,1.19), (7.565,1.005,7.755,1.195), (8.07,1.005,8.26,1.195), (8.585,1.005,8.775,1.195), (1.4,1.395,1.59,1.585), (2.42,1.4,2.61,1.59), (15.99,1.435,16.18,1.625), (7.565,1.44,7.755,1.63), (17.01,1.44,17.2,1.63), (8.585,1.445,8.775,1.635), (1.4,1.81,1.59,2), (1.9,1.81,2.09,2), (2.42,1.81,2.61,2), (15.99,1.85,16.18,2.04), (16.49,1.85,16.68,2.04), (17.01,1.85,17.2,2.04), (7.565,1.855,7.755,2.045), (8.065,1.855,8.255,2.045), (8.585,1.855,8.775,2.045), (23.705,4.38,23.895,4.57), (26.28,4.38,26.47,4.57), (30.775,4.38,30.965,4.57), (23.705,4.8,23.895,4.99), (26.28,4.8,26.47,4.99), (30.775,4.8,30.965,4.99), (23.705,5.21,23.895,5.4), (26.28,5.21,26.47,5.4), (30.775,5.21,30.965,5.4), (28.05,8.11,28.24,8.3), (28.05,8.71,28.24,8.9), (28.05,9.285,28.24,9.475)])
R(bootstrap_switch, Metal3, [(22.65,-20.98,22.85,-7.355), (26.16,-19.355,27.66,-17.355), (38.545,-19.355,40.045,-17.355), (30.395,-19.35,31.895,-17.35), (34.17,-15.22,35.26,-13.58), (1.12,-11.01,2.755,-9.56), (7.44,-11.01,9.075,-9.56), (25.47,-11.005,25.87,-10.61), (15.725,-10.985,17.36,-9.535), (25.47,-10.875,29.56,-10.675), (29.36,-10.875,29.56,-7.21), (37.03,-8.79,37.37,-6.29), (22.5,-7.7,23.005,-7.19), (29.36,-7.41,33.74,-7.21), (33.54,-7.41,33.74,-5.21), (37.11,-7.075,48.505,-6.875), (36.07,-5.545,36.57,-5.085), (33.425,-5.54,33.855,-5.12), (36.17,-5.505,36.47,-3.36), (30.285,-3.56,36.47,-3.36), (30.285,-3.56,30.485,-0.65), (30.24,-0.75,30.53,-0.25), (15.755,0.795,17.39,2.245), (1.175,0.8,2.81,2.25), (7.35,0.805,8.985,2.255), (23.25,4,24.34,5.64), (25.825,4,26.915,5.64), (30.32,4,31.41,5.64), (27.4,7.75,28.9,9.75)])
R(bootstrap_switch, Metal3_pin, [(22.665,-20.975,22.835,-20.78), (48.28,-7.06,48.48,-6.885)])
R(bootstrap_switch, NWell, [(29.99,-1.06,33.085,0.985), (33.835,-1.06,35.585,1)])
R(bootstrap_switch, PWell, [(29.08,-10.16,39.555,-4.445), (22.995,-3.05,28.38,1)])
R(bootstrap_switch, Via3, [(26.81,-18.995,27,-18.805), (39.195,-18.995,39.385,-18.805), (31.045,-18.99,31.235,-18.8), (26.81,-18.395,27,-18.205), (39.195,-18.395,39.385,-18.205), (31.045,-18.39,31.235,-18.2), (26.81,-17.82,27,-17.63), (39.195,-17.82,39.385,-17.63), (31.045,-17.815,31.235,-17.625), (34.625,-14.84,34.815,-14.65), (34.625,-14.42,34.815,-14.23), (34.625,-14.01,34.815,-13.82), (1.345,-10.805,1.535,-10.615), (1.85,-10.805,2.04,-10.615), (2.365,-10.805,2.555,-10.615), (7.68,-10.8,7.87,-10.61), (8.185,-10.8,8.375,-10.61), (8.7,-10.8,8.89,-10.61), (15.935,-10.765,16.125,-10.575), (16.44,-10.765,16.63,-10.575), (16.955,-10.765,17.145,-10.575), (1.345,-10.37,1.535,-10.18), (2.365,-10.365,2.555,-10.175), (7.68,-10.365,7.87,-10.175), (8.7,-10.36,8.89,-10.17), (15.935,-10.33,16.125,-10.14), (16.955,-10.325,17.145,-10.135), (1.345,-9.955,1.535,-9.765), (1.845,-9.955,2.035,-9.765), (2.365,-9.955,2.555,-9.765), (7.68,-9.95,7.87,-9.76), (8.18,-9.95,8.37,-9.76), (8.7,-9.95,8.89,-9.76), (15.935,-9.915,16.125,-9.725), (16.435,-9.915,16.625,-9.725), (16.955,-9.915,17.145,-9.725), (1.4,0.96,1.59,1.15), (1.905,0.96,2.095,1.15), (2.42,0.96,2.61,1.15), (15.99,1,16.18,1.19), (16.495,1,16.685,1.19), (17.01,1,17.2,1.19), (7.565,1.005,7.755,1.195), (8.07,1.005,8.26,1.195), (8.585,1.005,8.775,1.195), (1.4,1.395,1.59,1.585), (2.42,1.4,2.61,1.59), (15.99,1.435,16.18,1.625), (7.565,1.44,7.755,1.63), (17.01,1.44,17.2,1.63), (8.585,1.445,8.775,1.635), (1.4,1.81,1.59,2), (1.9,1.81,2.09,2), (2.42,1.81,2.61,2), (15.99,1.85,16.18,2.04), (16.49,1.85,16.68,2.04), (17.01,1.85,17.2,2.04), (7.565,1.855,7.755,2.045), (8.065,1.855,8.255,2.045), (8.585,1.855,8.775,2.045), (23.705,4.38,23.895,4.57), (26.28,4.38,26.47,4.57), (30.775,4.38,30.965,4.57), (23.705,4.8,23.895,4.99), (26.28,4.8,26.47,4.99), (30.775,4.8,30.965,4.99), (23.705,5.21,23.895,5.4), (26.28,5.21,26.47,5.4), (30.775,5.21,30.965,5.4), (28.05,8.11,28.24,8.3), (28.05,8.71,28.24,8.9), (28.05,9.285,28.24,9.475)])
R(bootstrap_switch, Metal4, [(26.16,-19.355,27.66,-17.355), (38.545,-19.355,40.045,-17.355), (30.395,-19.35,31.895,-17.35), (34.17,-15.22,35.26,-13.58), (1.12,-11.01,2.755,-9.56), (1.12,-11.01,2.755,-9.56), (7.44,-11.01,9.075,-9.56), (7.44,-11.01,9.075,-9.56), (15.725,-10.985,17.36,-9.535), (15.725,-10.985,17.36,-9.535), (15.755,0.795,17.39,2.245), (1.175,0.8,2.81,2.25), (1.175,0.8,2.81,2.25), (7.35,0.805,8.985,2.255), (23.25,4,24.34,5.64), (25.825,4,26.915,5.64), (30.32,4,31.41,5.64), (27.4,7.75,28.9,9.75)])
R(bootstrap_switch, Via4, [(26.81,-18.995,27,-18.805), (39.195,-18.995,39.385,-18.805), (31.045,-18.99,31.235,-18.8), (26.81,-18.395,27,-18.205), (39.195,-18.395,39.385,-18.205), (31.045,-18.39,31.235,-18.2), (26.81,-17.82,27,-17.63), (39.195,-17.82,39.385,-17.63), (31.045,-17.815,31.235,-17.625), (34.625,-14.84,34.815,-14.65), (34.625,-14.42,34.815,-14.23), (34.625,-14.01,34.815,-13.82), (1.345,-10.805,1.535,-10.615), (1.85,-10.805,2.04,-10.615), (2.365,-10.805,2.555,-10.615), (7.68,-10.8,7.87,-10.61), (8.185,-10.8,8.375,-10.61), (8.7,-10.8,8.89,-10.61), (15.935,-10.765,16.125,-10.575), (16.44,-10.765,16.63,-10.575), (16.955,-10.765,17.145,-10.575), (1.345,-10.37,1.535,-10.18), (2.365,-10.365,2.555,-10.175), (7.68,-10.365,7.87,-10.175), (8.7,-10.36,8.89,-10.17), (15.935,-10.33,16.125,-10.14), (16.955,-10.325,17.145,-10.135), (1.345,-9.955,1.535,-9.765), (1.845,-9.955,2.035,-9.765), (2.365,-9.955,2.555,-9.765), (7.68,-9.95,7.87,-9.76), (8.18,-9.95,8.37,-9.76), (8.7,-9.95,8.89,-9.76), (15.935,-9.915,16.125,-9.725), (16.435,-9.915,16.625,-9.725), (16.955,-9.915,17.145,-9.725), (1.4,0.96,1.59,1.15), (1.905,0.96,2.095,1.15), (2.42,0.96,2.61,1.15), (15.99,1,16.18,1.19), (16.495,1,16.685,1.19), (17.01,1,17.2,1.19), (7.565,1.005,7.755,1.195), (8.07,1.005,8.26,1.195), (8.585,1.005,8.775,1.195), (1.4,1.395,1.59,1.585), (2.42,1.4,2.61,1.59), (15.99,1.435,16.18,1.625), (7.565,1.44,7.755,1.63), (17.01,1.44,17.2,1.63), (8.585,1.445,8.775,1.635), (1.4,1.81,1.59,2), (1.9,1.81,2.09,2), (2.42,1.81,2.61,2), (15.99,1.85,16.18,2.04), (16.49,1.85,16.68,2.04), (17.01,1.85,17.2,2.04), (7.565,1.855,7.755,2.045), (8.065,1.855,8.255,2.045), (8.585,1.855,8.775,2.045), (23.705,4.38,23.895,4.57), (26.28,4.38,26.47,4.57), (30.775,4.38,30.965,4.57), (23.705,4.8,23.895,4.99), (26.28,4.8,26.47,4.99), (30.775,4.8,30.965,4.99), (23.705,5.21,23.895,5.4), (26.28,5.21,26.47,5.4), (30.775,5.21,30.965,5.4), (28.05,8.11,28.24,8.3), (28.05,8.71,28.24,8.9), (28.05,9.285,28.24,9.475)])
R(bootstrap_switch, Metal5, [(26.16,-19.355,27.66,-17.355), (38.545,-19.355,40.045,-17.355), (30.395,-19.35,31.895,-17.35), (34.17,-15.22,35.26,-13.58), (1.12,-11.01,2.76,-7.305), (7.44,-11.01,9.08,-7.305), (15.725,-10.985,17.365,-7.28), (15.755,0.795,17.39,2.245), (1.175,0.8,2.81,2.25), (7.35,0.805,8.985,2.255), (23.25,4,24.34,5.64), (25.825,4,26.915,5.64), (30.32,4,31.41,5.64), (27.4,7.75,28.9,9.75)])
R(bootstrap_switch, TopVia1, [(26.705,-18.6,27.125,-18.18), (39.09,-18.6,39.51,-18.18), (30.94,-18.595,31.36,-18.175), (34.5,-14.535,34.92,-14.115), (16.38,1.3,16.8,1.72), (7.92,1.345,8.34,1.765), (1.78,1.38,2.2,1.8), (23.58,4.685,24,5.105), (26.155,4.685,26.575,5.105), (30.65,4.685,31.07,5.105), (27.945,8.505,28.365,8.925)])
R(bootstrap_switch, TopMetal1, [(25.96,-19.355,27.865,-17.355), (38.345,-19.355,40.25,-17.355), (30.195,-19.35,32.1,-17.35), (-4.14,-15.22,-2.5,5.64), (-3,-15.22,42.535,-13.58), (41.415,-15.22,43.055,5.64), (15.755,-2.755,17.395,2.245), (1.175,-2.75,2.815,2.25), (7.35,-2.745,8.99,2.255), (-3,4,42.535,5.64), (27.2,7.75,29.105,9.75)])
R(bootstrap_switch, TopMetal1_pin, [(41.48,0.03,42.99,1.51)])
R(bootstrap_switch, TopVia2, [(26.465,-18.84,27.365,-17.94), (38.85,-18.84,39.75,-17.94), (30.7,-18.835,31.6,-17.935), (27.705,8.265,28.605,9.165)])
R(bootstrap_switch, TopMetal2, [(45.18,-19.365,47.18,9.74), (-8.255,-19.35,-6.255,9.755), (-7.5,-19.35,45.495,-17.35), (-7.5,7.75,45.495,9.75)])
R(bootstrap_switch, TopMetal2_pin, [(45.28,0.015,47.105,1.495)])
bootstrap_switch.add(gdstk.FlexPath([(32.44,-7.155),(32.44,-5.405),(33.74,-5.405)], 0.2, ends="flush", simple_path=True, layer=8, datatype=0))  # Metal1
bootstrap_switch.add(gdstk.Reference(nmos_2, (25.225,-1.75)))
bootstrap_switch.add(gdstk.Reference(cmim_1, (5.975,-7.59)))
bootstrap_switch.add(gdstk.Reference(cmim_1, (-0.385,-7.59)))
bootstrap_switch.add(gdstk.Reference(cmim, (12.295,-7.59)))
bootstrap_switch.add(gdstk.Reference(nmos_2, (26.68,-1.75)))
bootstrap_switch.add(gdstk.Reference(nmos_2, (23.715,-1.75)))
bootstrap_switch.add(gdstk.Reference(pmos_3, (34.32,-0.75)))
bootstrap_switch.add(gdstk.Reference(pmos_2, (30.3,-0.75)))
bootstrap_switch.add(gdstk.Reference(inverter2, (-10.005,6.845)))
bootstrap_switch.add(gdstk.Reference(inverter, (22.395,9.58)))
bootstrap_switch.add(gdstk.Reference(nmos_4, (34.32,-8.78)))
bootstrap_switch.add(gdstk.Reference(nmos_4, (33.24,-8.78)))
bootstrap_switch.add(gdstk.Reference(nmos_3, (31.9,-8.78)))
bootstrap_switch.add(gdstk.Reference(nmos_5, (30.365,-6.35)))
bootstrap_switch.add(gdstk.Reference(nmos_5, (29.335,-6.35)))
bootstrap_switch.add(gdstk.Reference(nmos_7, (37.315,-8.79)))
bootstrap_switch.add(gdstk.Reference(nmos_4, (35.915,-8.79)))
bootstrap_switch.add(gdstk.Label('vi', (48.355,-6.98), layer=30, texttype=25))
bootstrap_switch.add(gdstk.Label('clk', (22.725,-20.89), layer=30, texttype=25))
bootstrap_switch.add(gdstk.Label('vo', (48.37,-7.745), layer=10, texttype=25))
bootstrap_switch.add(gdstk.Label('vdd', (41.96,0.7), layer=126, texttype=25))
bootstrap_switch.add(gdstk.Label('gnd', (46.01,0.7), layer=134, texttype=25))

lib.write_gds('bootstrap_switch.gds')
